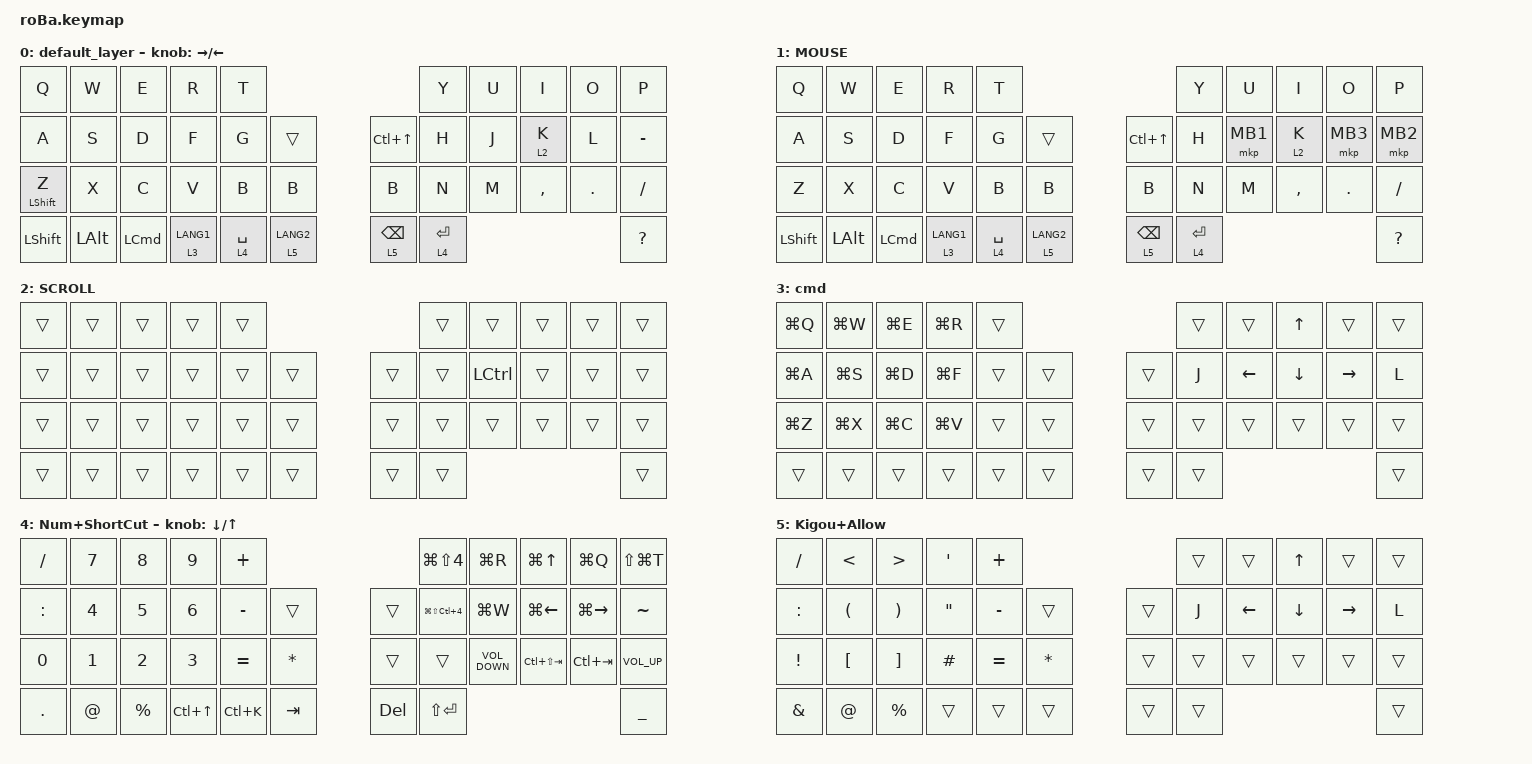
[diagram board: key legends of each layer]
#include <behaviors.dtsi>
#include <dt-bindings/zmk/keys.h>
#include <dt-bindings/zmk/pointing.h>

&mt {
    flavor = "balanced";
    quick-tap-ms = <0>;
};

&trackball {
    automouse-layer = <1>;
    scroll-layers = <2>;

    // arrows {
    //     layers = <3>;
    //     bindings =
    //         <&kp RIGHT_ARROW>,
    //         <&kp LEFT_ARROW>,
    //         <&kp UP_ARROW>,
    //         <&kp DOWN_ARROW>;
    //     tick = <10>;
    //     wait-ms = <5>;
    //     tap-ms = <5>;
    // };
};

/ {
    combos {
        compatible = "zmk,combos";

        tab {
            bindings = <&kp TAB>;
            key-positions = <11 12>;
        };

        shift_tab {
            bindings = <&kp LS(TAB)>;
            key-positions = <12 13>;
        };

        muhennkann {
            bindings = <&to_layer_0 LC(K)>;
            key-positions = <11 10>;
        };

        double_quotation {
            bindings = <&kp DOUBLE_QUOTES>;
            key-positions = <20 21>;
        };

        fn {
            bindings = <&kp ESC>;
            key-positions = <19 20>;
        };

        kakkoL {
            bindings = <&kp LEFT_PARENTHESIS>;
            key-positions = <2 1>;
        };

        kakkoR {
            bindings = <&kp RIGHT_PARENTHESIS>;
            key-positions = <7 8>;
        };

        kakko2L {
            bindings = <&kp LEFT_BRACKET>;
            key-positions = <23 24>;
        };

        kakko2R {
            bindings = <&kp RIGHT_BRACKET>;
            key-positions = <31 32>;
        };

        playpause {
            bindings = <&kp C_PLAY_PAUSE>;
            key-positions = <18 19>;
        };
    };

    macros {
        to_layer_0: to_layer_0 {
            compatible = "zmk,behavior-macro-one-param";
            #binding-cells = <1>;
            bindings = <&to 0 &macro_param_1to1 &kp MACRO_PLACEHOLDER>;
            label = "TO_LAYER_0";
        };
    };

    behaviors {
        lt_to_layer_0: lt_to_layer_0 {
            compatible = "zmk,behavior-hold-tap";
            label = "LAYER_TAP_TO_0";
            bindings = <&mo>, <&to_layer_0>;

            #binding-cells = <2>;
            tapping-term-ms = <200>;
        };
    };

    keymap {
        compatible = "zmk,keymap";

        default_layer {
            bindings = <
&kp Q             &kp W         &kp E     &kp R                   &kp T                                                      &kp Y        &kp U  &kp I      &kp O       &kp P
&kp A             &kp S         &kp D     &kp F                   &kp G        &trans                      &kp LC(UP_ARROW)  &kp H        &kp J  &lt 2 K    &kp L       &kp MINUS
&mt LEFT_SHIFT Z  &kp X         &kp C     &kp V                   &kp B        &kp B                       &kp B             &kp N        &kp M  &kp COMMA  &kp PERIOD  &kp SLASH
&kp LSHIFT        &kp LEFT_ALT  &kp LCMD  &lt_to_layer_0 3 LANG1  &lt 4 SPACE  &lt_to_layer_0 5 LANG2      &lt 5 BACKSPACE   &lt 4 ENTER                                &kp QUESTION
            >;

            sensor-bindings = <&inc_dec_kp RIGHT LEFT>;
        };

        MOUSE {
            bindings = <
&kp Q       &kp W         &kp E     &kp R        &kp T                                           &kp Y        &kp U     &kp I      &kp O       &kp P
&kp A       &kp S         &kp D     &kp F        &kp G        &trans           &kp LC(UP_ARROW)  &kp H        &mkp MB1  &lt 2 K    &mkp MB3    &mkp MB2
&kp Z       &kp X         &kp C     &kp V        &kp B        &kp B            &kp B             &kp N        &kp M     &kp COMMA  &kp PERIOD  &kp SLASH
&kp LSHIFT  &kp LEFT_ALT  &kp LCMD  &lt 3 LANG1  &lt 4 SPACE  &lt 5 LANG2      &lt 5 BACKSPACE   &lt 4 ENTER                                   &kp QUESTION
            >;
        };

        SCROLL {
            bindings = <
&trans  &trans  &trans  &trans  &trans                      &trans  &trans            &trans  &trans  &trans
&trans  &trans  &trans  &trans  &trans  &trans      &trans  &trans  &kp LEFT_CONTROL  &trans  &trans  &trans
&trans  &trans  &trans  &trans  &trans  &trans      &trans  &trans  &trans            &trans  &trans  &trans
&trans  &trans  &trans  &trans  &trans  &trans      &trans  &trans                                    &trans
            >;
        };

        cmd {
            bindings = <
&kp LG(Q)  &kp LG(W)  &kp LG(E)  &kp LG(R)  &trans                      &trans  &trans    &kp UP_ARROW  &trans     &trans
&kp LG(A)  &kp LG(S)  &kp LG(D)  &kp LG(F)  &trans  &trans      &trans  &kp J   &kp LEFT  &kp DOWN      &kp RIGHT  &kp L
&kp LG(Z)  &kp LG(X)  &kp LG(C)  &kp LG(V)  &trans  &trans      &trans  &trans  &trans    &trans        &trans     &trans
&trans     &trans     &trans     &trans     &trans  &trans      &trans  &trans                                     &trans
            >;
        };

        Num+ShortCut {
            bindings = <
&kp SLASH   &kp N7        &kp N8        &kp N9            &kp PLUS                                 &kp LG(LS(NUMBER_4))      &kp LG(R)          &kp LG(UP_ARROW)    &kp LG(Q)      &kp LS(LG(T))
&kp COLON   &kp NUMBER_4  &kp N5        &kp NUMBER_6      &kp MINUS  &trans            &trans      &kp LG(LS(LC(NUMBER_4)))  &kp LG(W)          &kp LG(LEFT_ARROW)  &kp LG(RIGHT)  &kp TILDE
&kp N0      &kp NUMBER_1  &kp NUMBER_2  &kp NUMBER_3      &kp EQUAL  &kp ASTERISK      &trans      &trans                    &kp C_VOLUME_DOWN  &kp LC(LS(TAB))     &kp LC(TAB)    &kp C_VOLUME_UP
&kp PERIOD  &kp AT_SIGN   &kp PERCENT   &kp LC(UP_ARROW)  &kp LC(K)  &kp TAB           &kp DELETE  &kp LS(ENTER)                                                                   &kp UNDERSCORE
            >;

            sensor-bindings = <&inc_dec_kp DOWN UP>;
        };

        Kigou+Allow {
            bindings = <
&kp SLASH        &kp LESS_THAN         &kp GREATER_THAN       &kp SQT            &kp PLUS                             &trans  &trans    &kp UP_ARROW  &trans     &trans
&kp COLON        &kp LEFT_PARENTHESIS  &kp RIGHT_PARENTHESIS  &kp DOUBLE_QUOTES  &kp MINUS  &trans            &trans  &kp J   &kp LEFT  &kp DOWN      &kp RIGHT  &kp L
&kp EXCLAMATION  &kp LEFT_BRACKET      &kp RIGHT_BRACKET      &kp HASH           &kp EQUAL  &kp ASTERISK      &trans  &trans  &trans    &trans        &trans     &trans
&kp AMPERSAND    &kp AT_SIGN           &kp PERCENT            &trans             &trans     &trans            &trans  &trans                                     &trans
            >;
        };
    };
};
